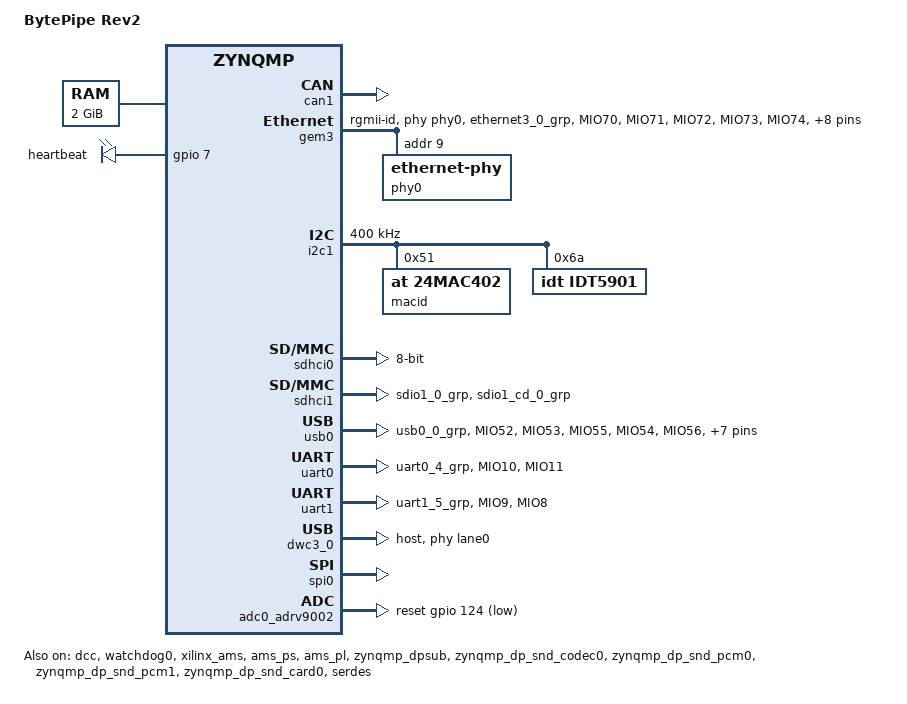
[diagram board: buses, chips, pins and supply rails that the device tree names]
#include "system-conf.dtsi"
#include "zynqmp.dtsi"
#include "zynqmp-clk-ccf.dtsi"
#include <dt-bindings/input/input.h>
#include <dt-bindings/gpio/gpio.h>
#include <dt-bindings/pinctrl/pinctrl-zynqmp.h>
#include <dt-bindings/phy/phy.h>
#include <dt-bindings/interrupt-controller/irq.h>
#include <dt-bindings/gpio/gpio.h>

/ {
	model = "BytePipe Rev2";
	compatible = "xlnx,zynqmp";

	aliases {
		ethernet0 = &gem3;
		gpio0 = &gpio;
		i2c0 = &i2c0;
		i2c1 = &i2c1;
		mmc0 = &sdhci1;
		rtc0 = &rtc;
		serial0 = &uart0;
		serial1 = &uart1;
		serial2 = &dcc;
		usb0 = &usb0;
	};

	chosen {
		bootargs = "earlycon";
		stdout-path = "serial0:115200n8";
	};

	memory@0 {
		device_type = "memory";
		reg = <0x0 0x0 0x0 0x80000000>;
	};


	leds {
		compatible = "gpio-leds";
		heartbeat_led {
			label = "heartbeat";
			gpios = <&gpio 7 GPIO_ACTIVE_HIGH>;
			linux,default-trigger = "heartbeat";
		};
	};
};

&can1 {
	status = "okay";
};

&dcc {
	status = "okay";
};

&fpd_dma_chan1 {
	status = "okay";
};

&fpd_dma_chan2 {
	status = "okay";
};

&fpd_dma_chan3 {
	status = "okay";
};

&fpd_dma_chan4 {
	status = "okay";
};

&fpd_dma_chan5 {
	status = "okay";
};

&fpd_dma_chan6 {
	status = "okay";
};

&fpd_dma_chan7 {
	status = "okay";
};

&fpd_dma_chan8 {
	status = "okay";
};

&gem3 {
	status = "okay";
	phy-handle = <&phy0>;
	phy-mode = "rgmii-id";
	pinctrl-names = "default";
	pinctrl-0 = <&pinctrl_gem3_default>;
	phy0: ethernet-phy@9 {
		reg = <9>;
		ti,rx-internal-delay = <0x8>;
		ti,tx-internal-delay = <0xa>;
		ti,fifo-depth = <0x1>;
		ti,dp83867-rxctrl-strap-quirk;
	};
};

&gpio {
	status = "okay";
	pinctrl-names = "default";
	pinctrl-0 = <&pinctrl_gpio_default>;
};

&i2c1 {
     	status = "okay";
     	clock-frequency = <400000>;
                
	macid: eeprom2@51 { /* IIC_MAC_ID - SOM - U7 */
	     compatible = "at,24mac402";
	     reg = <0x51>;
	};

	idt5901: clock-generator@6a { /* IDT 5P49V5935 clock generator - HDK - U6 */
	     #clock-cells = <0>;
	     compatible = "idt,idt5901";
	     reg = <0x6a>;
	     input-freq = <25000000>;
	     clk-freq = <75000000>;
	     output-num = <4>;
	};
};

&pinctrl0 {
	status = "okay";


	pinctrl_uart0_default: uart0-default {
		mux {
			groups = "uart0_4_grp";
			function = "uart0";
		};

		conf {
			groups = "uart0_4_grp";
			slew-rate = <SLEW_RATE_SLOW>;
			io-standard = <IO_STANDARD_LVCMOS18>;
		};

		conf-rx {
			pins = "MIO10";
			bias-high-impedance;
		};

		conf-tx {
			pins = "MIO11";
			bias-disable;
		};
	};

	pinctrl_uart1_default: uart1-default {
		mux {
			groups = "uart1_5_grp";
			function = "uart1";
		};

		conf {
			groups = "uart1_5_grp";
			slew-rate = <SLEW_RATE_SLOW>;
			io-standard = <IO_STANDARD_LVCMOS18>;
		};

		conf-rx {
			pins = "MIO9";
			bias-high-impedance;
		};

		conf-tx {
			pins = "MIO8";
			bias-disable;
		};
	};

	pinctrl_usb0_default: usb0-default {
		mux {
			groups = "usb0_0_grp";
			function = "usb0";
		};

		conf {
			groups = "usb0_0_grp";
			slew-rate = <SLEW_RATE_SLOW>;
			io-standard = <IO_STANDARD_LVCMOS18>;
		};

		conf-rx {
			pins = "MIO52", "MIO53", "MIO55";
			bias-high-impedance;
		};

		conf-tx {
			pins = "MIO54", "MIO56", "MIO57", "MIO58", "MIO59",
			       "MIO60", "MIO61", "MIO62", "MIO63";
			bias-disable;
		};
	};

	pinctrl_gem3_default: gem3-default {
		mux {
			function = "ethernet3";
			groups = "ethernet3_0_grp";
		};

		conf {
			groups = "ethernet3_0_grp";
			slew-rate = <SLEW_RATE_SLOW>;
			io-standard = <IO_STANDARD_LVCMOS18>;
		};

		conf-rx {
			pins = "MIO70", "MIO71", "MIO72", "MIO73", "MIO74",
									"MIO75";
			bias-high-impedance;
			low-power-disable;
		};

		conf-tx {
			pins = "MIO64", "MIO65", "MIO66", "MIO67", "MIO68",
									"MIO69";
			bias-disable;
			low-power-enable;
		};

		mux-mdio {
			function = "mdio3";
			groups = "mdio3_0_grp";
		};

		conf-mdio {
			groups = "mdio3_0_grp";
			slew-rate = <SLEW_RATE_SLOW>;
			io-standard = <IO_STANDARD_LVCMOS18>;
			bias-disable;
		};
	};

	pinctrl_sdhci1_default: sdhci1-default {
		mux {
			groups = "sdio1_0_grp";
			function = "sdio1";
		};

		conf {
			groups = "sdio1_0_grp";
			slew-rate = <SLEW_RATE_SLOW>;
			io-standard = <IO_STANDARD_LVCMOS33>;
			bias-disable;
		};

		mux-cd {
			groups = "sdio1_cd_0_grp";
			function = "sdio1_cd";
		};

		conf-cd {
			groups = "sdio1_cd_0_grp";
			bias-high-impedance;
			bias-pull-up;
			slew-rate = <SLEW_RATE_SLOW>;
			io-standard = <IO_STANDARD_LVCMOS33>;
		};
	};

	pinctrl_gpio_default: gpio-default {
		mux-sw {
			function = "gpio0";
			groups = "gpio0_7_grp";
		};

		conf-sw {
			groups = "gpio0_7_grp";
			slew-rate = <SLEW_RATE_SLOW>;
			io-standard = <IO_STANDARD_LVCMOS18>;
		};
	};
};

/* SD0 eMMC, 8-bit wide data bus */
&sdhci0 {
	status = "okay";
	bus-width = <8>;
	max-frequency = <50000000>;
};

/* SD1 with level shifter */
&sdhci1 {
	status = "okay";
	max-frequency = <50000000>;
	pinctrl-names = "default";
	pinctrl-0 = <&pinctrl_sdhci1_default>;
	xlnx,mio_bank = <1>;
	no-1-8-v;
};

/* ULPI SMSC USB3320 */
&usb0 {
	status = "okay";
};

&uart0 {
	status = "okay";
	pinctrl-names = "default";
	pinctrl-0 = <&pinctrl_uart0_default>;
};

&uart1 {
	status = "okay";
	pinctrl-names = "default";
	pinctrl-0 = <&pinctrl_uart1_default>;
};

/* ULPI SMSC USB3320 */
&usb0 {
	status = "okay";
	pinctrl-names = "default";
	pinctrl-0 = <&pinctrl_usb0_default>;
};

&dwc3_0 {
	status = "okay";
	dr_mode = "host";
	snps,usb3_lpm_capable;
	phy-names = "usb3-phy";
	phys = <&lane0 PHY_TYPE_USB3 0 0 52000000>;
	maximum-speed = "super-speed";
};


&watchdog0 {
	status = "okay";
};

&xilinx_ams {
	status = "okay";
};

&ams_ps {
	status = "okay";
};

&ams_pl {
	status = "okay";
};

&zynqmp_dpsub {
	status = "okay";
	phy-names = "dp-phy0", "dp-phy1";
	phys = <&lane3 PHY_TYPE_DP 0 2 27000000>, <&lane2 PHY_TYPE_DP 1 2 27000000>;
};

&zynqmp_dp_snd_codec0 {
	status = "okay";
};

&zynqmp_dp_snd_pcm0 {
	status = "okay";
};

&zynqmp_dp_snd_pcm1 {
	status = "okay";
};

&zynqmp_dp_snd_card0 {
	status = "okay";
};

&xlnx_dpdma {
	status = "okay";
};

&serdes {
	status = "okay";
};


/ {
	fpga_axi  {
		interrupt-parent = <&gic>;
		compatible = "simple-bus";
		#address-cells = <0x1>;
		#size-cells = <0x1>;
		ranges = <0 0 0 0xffffffff>;

		rx1_dma: dma@84A30000 {
			compatible = "adi,axi-dmac-1.00.a";
			reg = <0x84A30000 0x10000>;
			#dma-cells = <1>;
			interrupts = <0 109 IRQ_TYPE_LEVEL_HIGH>;
			clocks = <&zynqmp_clk 71>;

			adi,channels {
				#size-cells = <0>;
				#address-cells = <1>;

				dma-channel@0 {
					reg = <0>;
					adi,source-bus-width = <64>;
					adi,source-bus-type = <2>;
					adi,destination-bus-width = <64>;
					adi,destination-bus-type = <0>;
				};
			};
		};

		rx2_dma: dma@84A40000 {
			compatible = "adi,axi-dmac-1.00.a";
			reg = <0x84A40000 0x10000>;
			#dma-cells = <1>;
			interrupts = <0 108 IRQ_TYPE_LEVEL_HIGH>;
			clocks = <&zynqmp_clk 71>;

			adi,channels {
				#size-cells = <0>;
				#address-cells	 = <1>;

				dma-channel@0 {
					reg = <0>;
					adi,source-bus-width = <64>;
					adi,source-bus-type = <2>;
					adi,destination-bus-width = <64>;
					adi,destination-bus-type = <0>;
				};
			};
		};

		tx1_dma: dma@84A50000 {
			compatible = "adi,axi-dmac-1.00.a";
			reg = <0x84A50000 0x10000>;
			#dma-cells = <1>;
			interrupts = <0 107 IRQ_TYPE_LEVEL_HIGH>;
			clocks = <&zynqmp_clk 71>;

			adi,channels {
				#size-cells = <0>;
				#address-cells = <1>;

				dma-channel@0 {
					reg = <0>;
					adi,source-bus-width = <64>;
					adi,source-bus-type = <0>;
					adi,destination-bus-width = <64>;
					adi,destination-bus-type = <2>;
				};
			};
		};

		tx2_dma: dma@84A6000 {
			compatible = "adi,axi-dmac-1.00.a";
			reg = <0x84A60000 0x10000>;
			#dma-cells = <1>;
			interrupts = <0 106 IRQ_TYPE_LEVEL_HIGH>;
			clocks = <&zynqmp_clk 71>;

			adi,channels {
				#size-cells = <0>;
				#address-cells = <1>;

				dma-channel@0 {
					reg = <0>;
					adi,source-bus-width = <64>;
					adi,source-bus-type = <0>;
					adi,destination-bus-width = <64>;
					adi,destination-bus-type = <2>;
				};
			};
		};

		axi_adrv9002_core_rx1: axi-adrv9002-rx-lpc@84A00000 {
			compatible = "adi,axi-adrv9002-rx-1.0";
			reg = <0x84A00000 0x6000>;
			clocks = <&adc0_adrv9002 0>;
			dmas = <&rx1_dma 0>;
			dma-names = "rx";
			spibus-connected = <&adc0_adrv9002>;
		};

		axi_adrv9002_core_tx1: axi-adrv9002-tx-lpc@84A04000 {
			compatible = "adi,axi-adrv9002-tx-1.0";
			reg = <0x84A0A000 0x2000>;
			clocks = <&adc0_adrv9002 1>;
			clock-names = "sampl_clk";
			dmas = <&tx1_dma 0>;
			dma-names = "tx";
			adi,axi-dds-default-scale = <0x800>;
			adi,axi-dds-default-frequency = <2000000>;
		};

		axi_adrv9002_core_tdd1: axi-adrv9002-core-tdd1-lpc@44A0C800 {
			compatible = "adi,axi-tdd-1.00";
			reg = <0x84A0C800 0x400>;
			clocks = <&zynqmp_clk 71>, <&adc0_adrv9002 2>;
			clock-names = "s_axi_aclk", "intf_clk";
		};

		axi_adrv9002_core_rx2: axi-adrv9002-rx2-lpc@84A02000 {
			compatible = "adi,axi-adrv9002-rx2-1.0";
			reg = <0x84A09000 0x1000>;
			clocks = <&adc0_adrv9002 3>;
			clock-names = "sampl_clk";
			dmas = <&rx2_dma 0>;
			dma-names = "rx";
		};

		axi_adrv9002_core_tx2: axi-adrv9002-tx2-lpc@84A06000 {
			compatible = "adi,axi-adrv9002-tx-1.0";
			reg = <0x84A0C000 0x2000>;
			clocks = <&adc0_adrv9002 4>;
			clock-names = "sampl_clk";
			dmas = <&tx2_dma 0>;
			dma-names = "tx";
			adi,axi-dds-default-scale = <0x800>;
			adi,axi-dds-default-frequency = <2000000>;
		};

		axi_adrv9002_core_tdd2: axi-adrv9002-core-tdd2-lpc@44A0C800 {
			compatible = "adi,axi-tdd-1.00";
			reg = <0x84A0CC00 0x400>;
			clocks = <&zynqmp_clk 71>, <&adc0_adrv9002 5>;
			clock-names = "s_axi_aclk", "intf_clk";
		};

		axi_sysid_0: axi-sysid-0@85000000 {
			compatible = "adi,axi-sysid-1.00.a";
			reg = <0x85000000 0x10000>;
		};

    };
};

&spi0 {
	status = "okay";
};

#define fmc_spi spi0

#include "adi-adrv9002.dtsi"

/*
Name		HDL	Linux
output_enable	52	130
tx2_enable	51	129
tx1_enable	50	128
rx2_enable	49	127
rx1_enable	48	126
reset_trx	46	124
gp_int		44	122
dgpio_11	43	121
dgpio_10	42	120
dgpio_9		41	119
dgpio_8		40	118
dgpio_7		39	117
dgpio_6		38	116
dgpio_5		37	115
dgpio_4		36	114
dgpio_3		35	113
dgpio_2		34	112
dgpio_1		33	111
dgpio_0		32	110
*/

&adc0_adrv9002 {
	reset-gpios = <&gpio 124 GPIO_ACTIVE_LOW>;
};
